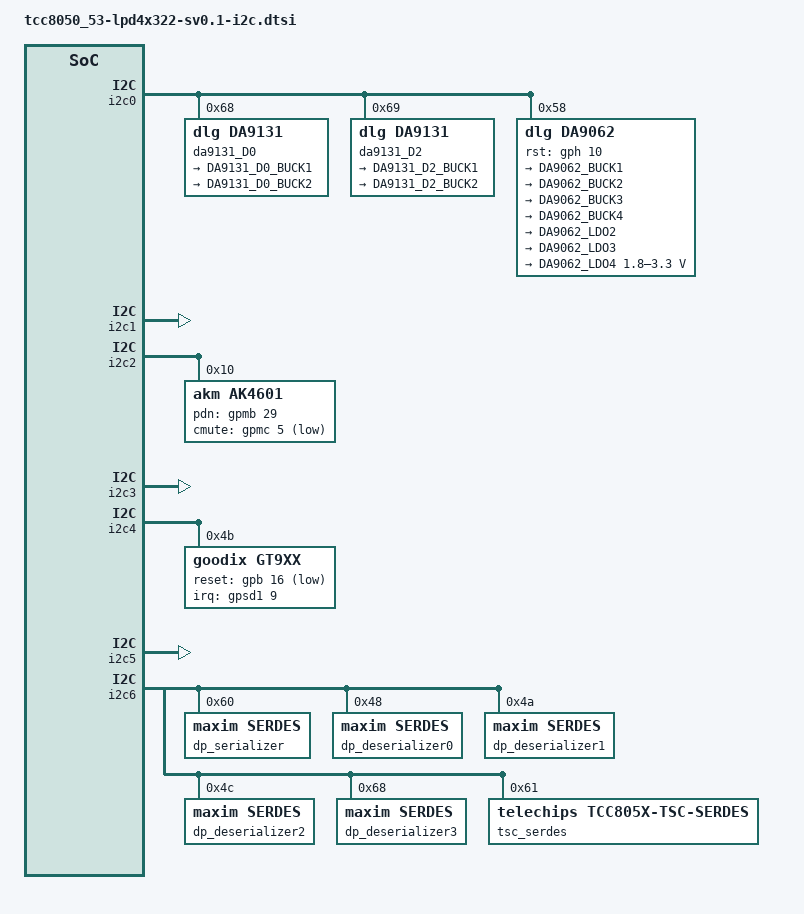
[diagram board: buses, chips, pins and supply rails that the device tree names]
// SPDX-License-Identifier: (GPL-2.0-or-later OR MIT)
/*
 * Copyright (C) 2023 Telechips Inc.
 */

#include <dt-bindings/gpio/gpio.h>
#include <dt-bindings/interrupt-controller/arm-gic.h>

&i2c0 {
	status = "okay";
	port-mux = <22>;
	pinctrl-names = "default", "sleep";
	pinctrl-0 = <&i2c22_bus_active>;
	pinctrl-1 = <&i2c22_bus_sleep>;

	#address-cells = <1>;
	#size-cells = <0>;

	/* ack timeout count: 100 */
	retry-count = <100>;

	/* pmic da9131-D0 */
	da9131_D0: pmic@68 {
		compatible = "dlg,da9131";
		reg = <0x68>;

		regulators {
			DA9131_D0_BUCK1: buck1 {
				regulator-name = "core_0p8";
				regulator-always-on;
				regulator-boot-on;
			};

			DA9131_D0_BUCK2: buck2 {
				regulator-name = "gb_0p8";
				regulator-always-on;
				regulator-boot-on;
			};
		};
	}; /* pmic da9131-D0 */

	/* pmic da9131-D2 */
	da9131_D2: pmic@69 {
		compatible = "dlg,da9131";
		reg = <0x69>;

		regulators {
			DA9131_D2_BUCK1: buck1 {
				regulator-name = "cpu_1p0";
				regulator-always-on;
				regulator-boot-on;
			};

			DA9131_D2_BUCK2: buck2 {
				regulator-name = "io_3p3";
				regulator-always-on;
				regulator-boot-on;
			};
		};
	}; /* pmic da9131-D2 */

	/* pmic da9062 */
	da9062: pmic@58 {
		compatible = "dlg,da9062";
		reg = <0x58>;
		rst-gpios = <&gph 10 0>;

		da9062_gpio: gpio {
			compatible = "dlg,da9062-gpio";
			gpio-controller;
			#gpio-cells = <2>;
		};

		regulators {
			DA9062_BUCK1: buck1 {
				regulator-name = "memq_1p1";
				regulator-always-on;
				regulator-boot-on;

				regulator-state-mem {
					regulator-on-in-suspend;
				};
			};

			DA9062_BUCK2: buck2 {
				regulator-name = "cpu_0p9v";
				regulator-always-on;
				regulator-boot-on;
			};

			DA9062_BUCK3: buck3 {
				regulator-name = "io_1p8";
				regulator-always-on;
				regulator-boot-on;
			};

			DA9062_BUCK4: buck4 {
				regulator-name = "memq_0p6";
				regulator-always-on;
				regulator-boot-on;
			};

			DA9062_LDO2: ldo2 {
				regulator-name = "mem_1p8";
				regulator-always-on;
				regulator-boot-on;

				regulator-state-mem {
					regulator-on-in-suspend;
				};
			};

			DA9062_LDO3: ldo3 {
				regulator-name = "mipi_1p2";
				regulator-always-on;
				regulator-boot-on;
			};

			DA9062_LDO4: ldo4 {
				regulator-name = "sdio_pwr";
				regulator-always-on;
				regulator-boot-on;
				regulator-min-microvolt = <1800000>;
				regulator-max-microvolt = <3300000>;
			};
		};
	}; /* pmic da9062 */
};

&i2c1 {
	status = "okay";
	port-mux = <10>; /* [0]SCL [1]SDA */
	pinctrl-names = "default", "sleep";
	pinctrl-0 = <&i2c10_bus_active>;
	pinctrl-1 = <&i2c10_bus_sleep>;

	#address-cells = <1>;
	#size-cells = <0>;
};

&i2c2 {
	status = "okay";
	port-mux = <30>; /* [0]SCL [1]SDA */
	pinctrl-names = "default", "sleep";
	pinctrl-0 = <&i2c30_bus_active>;
	pinctrl-1 = <&i2c30_bus_sleep>;

	#address-cells = <1>;
	#size-cells = <0>;

	ak4601: ak4601@10 {
		compatible = "akm,ak4601";
		ak4601,pdn-gpio = <&gpmb 29 0>;
		cmute-gpios = <&gpmc 5 1>;     //CODEC_MUTE    0: active high, 1: active low
		//amute-gpios = <&gpma 1 1>;       //AMP_MUTE      0: active high, 1: active low
		//stanby-gpios = <&gpma 2 0>;     //AMP_STBY      0: active high, 1: active low
		reg = <0x10>;
	};
};

&i2c3 {
	status = "okay";
	port-mux = <11>;
	pinctrl-names = "default", "sleep";
	pinctrl-0 = <&i2c11_bus_active>;
	pinctrl-1 = <&i2c11_bus_sleep>;

	#address-cells = <1>;
	#size-cells = <0>;

	/* CarPlay require ack timeout count: 500 */
	retry-count = <500>;
};

&i2c4 {
	status = "okay";
	port-mux = <6>;
	pinctrl-names = "default", "sleep";
	pinctrl-0 = <&i2c6_bus_active>;
	pinctrl-1 = <&i2c6_bus_sleep>;

	#address-cells = <1>;
	#size-cells = <0>;

	/* Use burst-mode for touch */
	burst-mode;

	/* Retransmission due to nack response from mxt touch */
	retry-count = <100>;
	cmd-timeout = <2000>;
	recovery-gpios = <&gpa 22 0>, <&gpa 23 0>;

	/* BOE panel touch IC */
	mxt_touch@4b {
		compatible = "atmel,maxtouch";
		status = "disabled";
		reg = <0x4b>;
		pinctrl-names = "default", "sleep";
		pinctrl-0 = <&boe_tsc0_default>;
		pinctrl-1 = <&boe_tsc0_default>;

		interrupt-parent = <&gpsd1>;
		interrupts = <9 IRQ_TYPE_EDGE_FALLING>;
		reset-gpio = <&gpb 16 GPIO_ACTIVE_LOW>;

		tsc-serdes-handle = <&tsc_serdes>;
	};

	/* AUO panel touch IC */
	gt9xx@4b {
		compatible = "goodix,gt9xx";
		reg = <0x4b>;
		status = "okay";
		interrupt-parent = <&gpsd1>;
		interrupts = <9 IRQ_TYPE_EDGE_FALLING>;
		pinctrl-names = "default", "int-output-low","int-output-high", "int-input", "sleep";
		pinctrl-0 = <&auo_tsc0_int_default>;
		pinctrl-1 = <&auo_tsc0_int_output_low>;
		pinctrl-2 = <&auo_tsc0_int_output_high>;
		pinctrl-3 = <&auo_tsc0_int_input>;
		pinctrl-4 = <&auo_tsc0_int_default>;

		reset-gpios = <&gpb 16 GPIO_ACTIVE_LOW>;
		irq-gpios = <&gpsd1 9 IRQ_TYPE_EDGE_FALLING>;
		irq-flags = <2>;

		touchscreen-max-id = <11>;
		touchscreen-size-x = <1920>;
		touchscreen-size-y = <720>;
		touchscreen-max-w = <512>;
		touchscreen-max-p = <512>;
		touchscreen-key-map = <172>, <158>; /*KEY_HOMEPAGE=172, KEY_BACK=158，KEY_MENU=139*/

		goodix,slide-wakeup = <0>;
		goodix,type-a-report = <0>;
		goodix,driver-send-cfg = <0>;
		goodix,resume-in-workqueue = <0>;
		goodix,int-sync = <1>;
		goodix,swap-x2y = <0>;
		goodix,esd-protect = <1>;
		goodix,auto-update-cfg = <0>;
		goodix,power-off-sleep = <0>;
		goodix,pen-suppress-finger = <0>;
		goodix,cfg-group0 = [
			53 D0 02 00 05 05 F5 D5 21 48 2D 0F 5A 41 0E 05 00 00 32 32 20 00 05 14 14 1A 14 8B 2B 00
		];
		tsc-serdes-handle = <&tsc_serdes>;
	};
};

&i2c5 {
	status = "okay";
	port-mux = <33>;
	pinctrl-names = "default", "sleep";
	pinctrl-0 = <&i2c33_bus_active>;
	pinctrl-1 = <&i2c33_bus_sleep>;

	#address-cells = <1>;
	#size-cells = <0>;

	/* Use burst-mode for touch */
	burst-mode;

	/* Retransmission due to nack response from mxt touch */
	retry-count = <100>;
	cmd-timeout = <2000>;
	recovery-gpios = <&gpmb 26 0>, <&gpmb 27 0>;

	/* BOE panel touch IC */
	mxt_touch@4d {
		compatible = "atmel,maxtouch";
		status = "disabled";
		reg = <0x4d>;
		pinctrl-names = "default", "sleep";
		pinctrl-0 = <&boe_tsc1_default>;
		pinctrl-1 = <&boe_tsc1_default>;

		interrupt-parent = <&gpa>;
		interrupts = <21 IRQ_TYPE_EDGE_FALLING>;
		reset-gpio = <&gpmd 8 GPIO_ACTIVE_LOW>;

		tsc-serdes-handle = <&tsc_serdes>;
	};

	/* AUO panel touch IC */
	gt9xx@4d {
		compatible = "goodix,gt9xx";
		reg = <0x4d>;
		status = "disabled";
		interrupt-parent = <&gpa>;
		interrupts = <21 IRQ_TYPE_EDGE_FALLING>;
		pinctrl-names = "default", "int-output-low","int-output-high", "int-input", "sleep";
		pinctrl-0 = <&auo_tsc1_int_default>;
		pinctrl-1 = <&auo_tsc1_int_output_low>;
		pinctrl-2 = <&auo_tsc1_int_output_high>;
		pinctrl-3 = <&auo_tsc1_int_input>;
		pinctrl-4 = <&auo_tsc1_int_default>;

		reset-gpios = <&gpmd 8 GPIO_ACTIVE_LOW>;
		irq-gpios = <&gpa 21 IRQ_TYPE_EDGE_FALLING>;
		irq-flags = <2>;

		touchscreen-max-id = <11>;
		touchscreen-size-x = <1920>;
		touchscreen-size-y = <720>;
		touchscreen-max-w = <512>;
		touchscreen-max-p = <512>;
		touchscreen-key-map = <172>, <158>; /*KEY_HOMEPAGE=172, KEY_BACK=158，KEY_MENU=139*/

		goodix,slide-wakeup = <0>;
		goodix,type-a-report = <0>;
		goodix,driver-send-cfg = <0>;
		goodix,resume-in-workqueue = <0>;
		goodix,int-sync = <1>;
		goodix,swap-x2y = <0>;
		goodix,esd-protect = <1>;
		goodix,auto-update-cfg = <0>;
		goodix,power-off-sleep = <0>;
		goodix,pen-suppress-finger = <0>;
		goodix,cfg-group0 = [
			53 D0 02 00 05 05 F5 D5 21 48 2D 0F 5A 41 0E 05 00 00 32 32 20 00 05 14 14 1A 14 8B 2B 00
		];
		tsc-serdes-handle = <&tsc_serdes>;
	};
};

&i2c6 {
	status = "okay";
	port-mux = <37>;
	pinctrl-names = "default", "sleep";
	pinctrl-0 = <&i2c37_bus_active>;
	pinctrl-1 = <&i2c37_bus_sleep>;

	#address-cells = <1>;
	#size-cells = <0>;

	/* Use burst-mode for serdes */
	burst-mode;

	dp_serializer: max96851@60 {
		compatible	= "maxim,serdes";
		reg		= <0x60>;
	};

	dp_deserializer0: max96878@48 {
		compatible	= "maxim,serdes";
		reg		= <0x48>;
	};

	dp_deserializer1: max96878@4a {
		compatible	= "maxim,serdes";
		reg		= <0x4a>;
	};

	dp_deserializer2: max96878@4c {
		compatible	= "maxim,serdes";
		reg		= <0x4c>;
	};

	dp_deserializer3: max96878@68 {
		compatible	= "maxim,serdes";
		reg		= <0x68>;
	};

	tsc_serdes: tsc_serdes@61 {
		compatible = "telechips,tcc805x-tsc-serdes";
		status = "okay";
		reg = <0x61>;
		max-disp-num = <3>;
		/* 0x01: TCC803XPE_EVB
		   0x02: TCC8059_EVB
		   0x04: TCC8050_53_EVB
		   0x08: TCC8070_EVB */
		board-type = <0x04>;
		/* 0xBA: AUO Touch IC(goodix)
		   0x94: BOE Touch IC(atmel) */
		lcd-touch-addr = <0xBA>;
	};
};

&pinctrl {
	i2c6_bus_active: i2c6_bus_active {
		telechips,pins = "gpa-22", "gpa-23";
		telechips,pin-function = <8>;
		telechips,input_buffer_enable;
		telechips,no-pull;
	};

	i2c6_bus_sleep: i2c6_bus_sleep {
		telechips,pins = "gpa-22", "gpa-23";
		telechips,pin-function = <0>;
		telechips,no-pull;
	};

	i2c10_bus_active: i2c10_bus_active {
		telechips,pins = "gpb-17", "gpb-18";
		telechips,pin-function = <8>;
		telechips,input_buffer_enable;
		telechips,no-pull;
	};

	i2c10_bus_sleep: i2c10_bus_sleep {
		telechips,pins = "gpb-17", "gpb-18";
		telechips,pin-function = <0>;
		telechips,no-pull;
	};

	i2c11_bus_active: i2c11_bus_active {
		telechips,pins = "gpb-19", "gpb-20";
		telechips,pin-function = <8>;
		telechips,input_buffer_enable;
		telechips,no-pull;
	};

	i2c11_bus_sleep: i2c11_bus_sleep {
		telechips,pins = "gpb-19", "gpb-20";
		telechips,pin-function = <0>;
		telechips,input_buffer_enable;
		telechips,no-pull;
	};

	i2c22_bus_active: i2c22_bus_active {
		telechips,pins = "gph-4", "gph-5";
		telechips,pin-function = <9>;
		telechips,input_buffer_enable;
		telechips,no-pull;
	};

	i2c22_bus_sleep: i2c22_bus_sleep {
		telechips,pins = "gph-4", "gph-5";
		telechips,pin-function = <0>;
		telechips,no-pull;
	};

	i2c30_bus_active: i2c30_bus_active {
		telechips,pins = "gpmb-10", "gpmb-11";
		telechips,pin-function = <8>;
		telechips,input_buffer_enable;
		telechips,no-pull;
	};

	i2c30_bus_sleep: i2c30_bus_sleep {
		telechips,pins = "gpmb-10", "gpmb-11";
		telechips,pin-function = <0>;
		telechips,no-pull;
	};

	i2c33_bus_active: i2c33_bus_active {
		telechips,pins = "gpmb-26", "gpmb-27";
		telechips,pin-function = <8>;
		telechips,input_buffer_enable;
		telechips,no-pull;
	};

	i2c33_bus_sleep: i2c33_bus_sleep {
		telechips,pins = "gpmb-26", "gpmb-27";
		telechips,pin-function = <0>;
		telechips,no-pull;
	};

	i2c37_bus_active: i2c37_bus_active {
		telechips,pins = "gpmc-16", "gpmc-17";
		telechips,pin-function = <8>;
		telechips,input_buffer_enable;
		telechips,no-pull;
	};

	i2c37_bus_sleep: i2c37_bus_sleep {
		telechips,pins = "gpmc-16", "gpmc-17";
		telechips,pin-function = <0>;
		telechips,no-pull;
	};

	/* BOE panel touch IC*/
	boe_tsc0_default: boe_tsc0_default {
		telechips,pins = "gpsd1-9", "gpb-16";
		telechips,pin-function = <0>;
		telechips,no-pull;
		telechips,input_buffer_enable;
	};

	boe_tsc1_default: boe_tsc1_default {
		telechips,pins = "gpa-21", "gpmd-8";
		telechips,pin-function = <0>;
		telechips,no-pull;
		telechips,input_buffer_enable;
	};

	/* AUO panel touch IC */
	auo_tsc0_int_default: auo_tsc0_int_default {
		telechips,pins = "gpsd1-9", "gpb-16";
		telechips,pin-function = <0>;
		telechips,no-pull;
		telechips,input_buffer_enable;
		telechips,input-enable;
	};

	auo_tsc0_int_output_low: auo_tsc0_int_output_low {
		telechips,pins = "gpsd1-9";
		telechips,pin-function = <0>;
		telechips,output-low;
	};

	auo_tsc0_int_output_high: auo_tsc0_int_output_high {
		telechips,pins = "gpsd1-9";
		telechips,pin-function = <0>;
		telechips,output-high;
	};

	auo_tsc0_int_input: auo_tsc0_int_input {
		telechips,pins = "gpsd1-9";
		telechips,pin-function = <0>;
		telechips,no-pull;
		telechips,input_buffer_enable;
		telechips,input-enable;
	};

	auo_tsc1_int_default: auo_tsc1_int_default {
		telechips,pins = "gpa-21", "gpmd-8";
		telechips,pin-function = <0>;
		telechips,no-pull;
		telechips,input_buffer_enable;
		telechips,input-enable;
	};

	auo_tsc1_int_output_low: auo_tsc1_int_output_low {
		telechips,pins = "gpa-21";
		telechips,pin-function = <0>;
		telechips,output-low;
	};

	auo_tsc1_int_output_high: auo_tsc1_int_output_high {
		telechips,pins = "gpa-21";
		telechips,pin-function = <0>;
		telechips,output-high;
	};

	auo_tsc1_int_input: auo_tsc1_int_input {
		telechips,pins = "gpa-21";
		telechips,pin-function = <0>;
		telechips,no-pull;
		telechips,input_buffer_enable;
		telechips,input-enable;
	};
};
